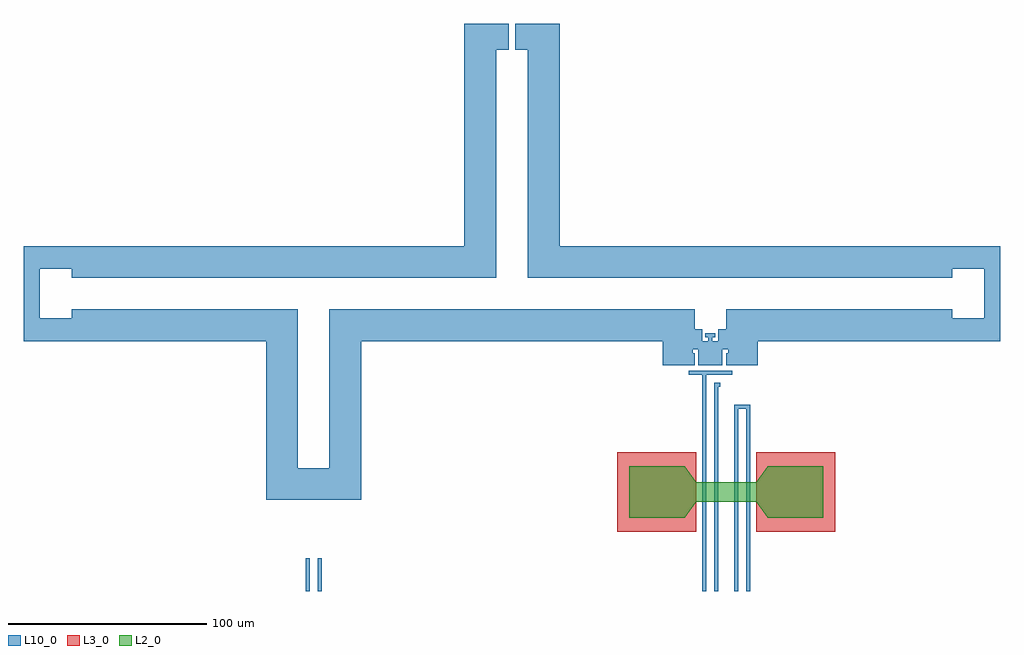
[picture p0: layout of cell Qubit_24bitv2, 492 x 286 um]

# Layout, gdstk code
from math import pi, radians
import gdstk
lib = gdstk.Library(unit=1e-6, precision=1e-09)
def R(c, l, rs):  # rectangles x0, y0, x1, y1
    for r in rs: c.add(gdstk.rectangle(r[:2], r[2:], *l))
def P(c, l, *ps):  # polygons
    for p in ps: c.add(gdstk.Polygon(p, *l))
L2_0 = (2, 0)
L3_0 = (3, 0)
L10_0 = (10, 0)

airbridge1ins = lib.new_cell('airbridge1ins')
R(airbridge1ins, L2_0, [(-49,-13,-21,-5), (21,-13,49,-5), (-49,-5,-30,5), (-30,-5,30,5), (30,-5,49,5), (-49,5,-21,13), (21,5,49,13)])
P(airbridge1ins, L2_0, [(21,-13),(15,-5),(21,-5)],
  [(15,5),(21,13),(21,5)],
  [(-21,-13),(-21,-5),(-15,-5)],
  [(-21,5),(-21,13),(-15,5)])
R(airbridge1ins, L3_0, [(-55,-20,-15,20), (15,-20,55,20)])

qubit_24bitv2 = lib.new_cell('Qubit_24bitv2')
R(qubit_24bitv2, L10_0, [(-104,-136,-102,-119.5), (-98,-136,-96,-119.5), (112,-136,114,-42), (118,-136,120,-42), (-124,-90,-108,-10), (-108,-90,-92,-74), (-92,-90,-76,-10), (114,-44,118,-42), (-246,-10,-238,38), (-238,-10,-222,1.5), (-222,-10,-206,6), (-206,-10,-158,6), (-158,-10,-108,6), (-92,-10,76,6), (124,-10,158,6), (158,-10,206,6), (206,-10,222,6), (222,-10,238,1.5), (238,-10,246,38), (-222,22,-206,38), (-206,22,-32,38), (-32,22,-8,38), (8,22,32,38), (32,22,206,38), (206,22,222,38), (-238,26.5,-222,38), (222,26.5,238,38), (-24,38,-8,110), (8,38,24,110), (-24,110,-8,126), (8,110,24,126), (-24,126,-8,142), (8,126,24,142), (-8,137,-1.6,150), (1.6,137,8,150), (-24,142,-8,150), (8,142,24,150)])
P(qubit_24bitv2, L10_0, [(76,-22),(76,6),(92,6),(92,-4),(96,-4),(96,-10),(99,-10),(99,-8),(97.5,-8),(97.5,-6),(102.5,-6),(102.5,-8),(101,-8),(101,-10),(104,-10),(104,-4),(108,-4),(108,6),(124,6),(124,-22),(108,-22),(108,-16),(109,-16),(109,-14),(106,-14),(106,-22),(94,-22),(94,-14),(91,-14),(91,-16),(92,-16),(92,-22)],
  [(102,-136),(102,-31),(105,-31),(105,-33),(104,-33),(104,-136)],
  [(96,-136),(96,-27),(89,-27),(89,-25),(111,-25),(111,-27),(98,-27),(98,-136)])
qubit_24bitv2.add(gdstk.Reference(airbridge1ins, (108,-86), rotation=pi))

lib.write_gds('Qubit_24bitv2.gds')
